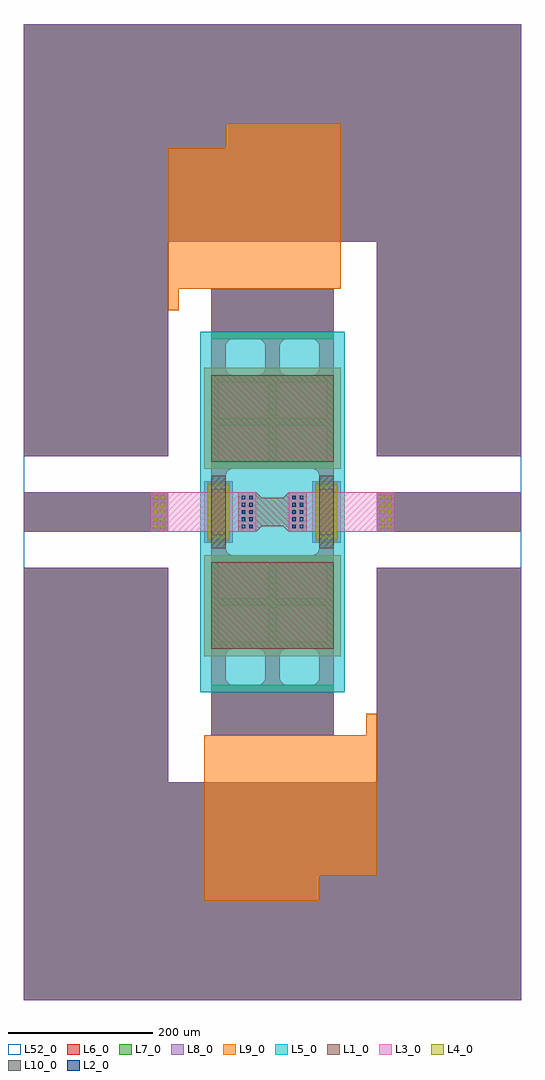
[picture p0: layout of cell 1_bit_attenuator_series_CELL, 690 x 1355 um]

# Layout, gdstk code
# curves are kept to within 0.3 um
import gdstk
lib = gdstk.Library(unit=1e-6, precision=1e-09)
def R(c, l, rs):  # rectangles x0, y0, x1, y1
    for r in rs: c.add(gdstk.rectangle(r[:2], r[2:], *l))
def A(c, l, x, y, w, h, nx, ny, dx, dy):  # array of equal rectangles
    R(c, l, [(x+i*dx, y+j*dy, x+i*dx+w, y+j*dy+h) for i in range(nx) for j in range(ny)])
def P(c, l, *ps):  # polygons
    for p in ps: c.add(gdstk.Polygon(p, *l))
L1_0 = (1, 0)
L2_0 = (2, 0)
L3_0 = (3, 0)
L4_0 = (4, 0)
L5_0 = (5, 0)
L6_0 = (6, 0)
L7_0 = (7, 0)
L8_0 = (8, 0)
L9_0 = (9, 0)
L10_0 = (10, 0)
L52_0 = (52, 0)

c_1_bit_attenuator_series_ = lib.new_cell('1_bit_attenuator_series_CELL')
R(c_1_bit_attenuator_series_, L1_0, [(-85,-190,85,-70), (-85,-190,85,-70), (-85,-32.5,-65,32.5), (65,-32.5,85,32.5), (-47.5,-27.5,-22.5,27.5), (22.5,-27.5,47.5,27.5), (-27.5,-20,27.5,20), (-85,70,85,190)])
P(c_1_bit_attenuator_series_, L1_0, [(22.5,27.5),(15,20),(22.5,20)],
  [(22.5,-27.5),(15,-20),(22.5,-20)],
  [(-22.5,-27.5),(-15,-20),(-22.5,-20)],
  [(-22.5,27.5),(-15,20),(-22.5,20)])
A(c_1_bit_attenuator_series_, L2_0, -42.5, -22.5, 5, 5, 1, 5, 0, 10)
A(c_1_bit_attenuator_series_, L2_0, -32.5, -22.5, 5, 5, 1, 5, 0, 10)
A(c_1_bit_attenuator_series_, L2_0, 27.5, -22.5, 5, 5, 1, 5, 0, 10)
A(c_1_bit_attenuator_series_, L2_0, 37.5, -22.5, 5, 5, 1, 5, 0, 10)
R(c_1_bit_attenuator_series_, L3_0, [(-170,-27.5,-145,27.5), (-170,-27.5,-145,27.5), (-145,-27.5,-47.5,27.5), (-47.5,-27.5,-22.5,27.5), (22.5,-27.5,47.5,27.5), (47.5,-27.5,145,27.5), (145,-27.5,170,27.5), (145,-27.5,170,27.5)])
A(c_1_bit_attenuator_series_, L4_0, -165, -22.5, 5, 5, 1, 5, 0, 10)
A(c_1_bit_attenuator_series_, L4_0, -155, -22.5, 5, 5, 1, 5, 0, 10)
A(c_1_bit_attenuator_series_, L4_0, 150, -22.5, 5, 5, 1, 5, 0, 10)
A(c_1_bit_attenuator_series_, L4_0, 160, -22.5, 5, 5, 1, 5, 0, 10)
R(c_1_bit_attenuator_series_, L4_0, [(-90,-37.5,-60,37.5), (60,-37.5,90,37.5)])
R(c_1_bit_attenuator_series_, L5_0, [(-100,-250,100,-90), (-100,-90,100,90), (-100,90,100,250)])
A(c_1_bit_attenuator_series_, L6_0, -85, -240, 20, 50, 3, 2, 75, 430)
R(c_1_bit_attenuator_series_, L6_0, [(-345,-677.5,345,-375), (-345,-477.5,-145,-77.5), (145,-477.5,345,-77.5), (-85,-310,85,-250), (-85,-250,85,-240), (-81,-181,78,-66), (-85,-60,-65,60), (65,-60,85,60), (-345,-27.5,-145,27.5), (145,-27.5,345,27.5), (-81,66,81,185), (-345,77.5,-145,477.5), (145,77.5,345,477.5), (-85,240,85,250), (-85,250,85,310), (-345,375,345,677.5)])
P(c_1_bit_attenuator_series_, L6_0, [(65,-230),(64,-234),(63,-236),(61,-238),(59,-239),(55,-240),(65,-240)],
  [(65,-200),(64,-196),(63,-194),(61,-192),(59,-191),(55,-190),(65,-190)],
  [(10,-230),(11,-234),(12,-236),(14,-238),(16,-239),(20,-240),(10,-240)],
  [(10,-200),(11,-196),(12,-194),(14,-192),(16,-191),(20,-190),(10,-190)],
  [(-10,-230),(-11,-234),(-12,-236),(-14,-238),(-16,-239),(-20,-240),(-10,-240)],
  [(-10,-200),(-11,-196),(-12,-194),(-14,-192),(-16,-191),(-20,-190),(-10,-190)],
  [(-65,-200),(-64,-196),(-63,-194),(-61,-192),(-59,-191),(-55,-190),(-65,-190)],
  [(-65,-230),(-64,-234),(-63,-236),(-61,-238),(-59,-239),(-55,-240),(-65,-240)],
  [(65,-50),(64,-54),(63,-56),(61,-58),(59,-59),(55,-60),(65,-60)],
  [(65,50),(64,54),(63,56),(61,58),(59,59),(55,60),(65,60)],
  [(-65,50),(-64,54),(-63,56),(-61,58),(-59,59),(-55,60),(-65,60)],
  [(-65,-50),(-64,-54),(-63,-56),(-61,-58),(-59,-59),(-55,-60),(-65,-60)],
  [(65,230),(64,234),(63,236),(61,238),(59,239),(55,240),(65,240)],
  [(65,200),(64,196),(63,194),(61,192),(59,191),(55,190),(65,190)],
  [(10,230),(11,234),(12,236),(14,238),(16,239),(20,240),(10,240)],
  [(10,200),(11,196),(12,194),(14,192),(16,191),(20,190),(10,190)],
  [(-10,230),(-11,234),(-12,236),(-14,238),(-16,239),(-20,240),(-10,240)],
  [(-10,200),(-11,196),(-12,194),(-14,192),(-16,191),(-20,190),(-10,190)],
  [(-65,200),(-64,196),(-63,194),(-61,192),(-59,191),(-55,190),(-65,190)],
  [(-65,230),(-64,234),(-63,236),(-61,238),(-59,239),(-55,240),(-65,240)],
  [(-70,70),(-72,70.5),(-73,71),(-74,72),(-74.5,73),(-75,75),(-85,75),(-85,60),(-70,60)],
  [(-50,70),(-53,71),(-54,72),(-55,75),(-65,75),(-66,72),(-67,71),(-70,70),(-70,60),(-50,60)],
  [(-30,70),(-33,71),(-34,72),(-35,75),(-45,75),(-46,72),(-47,71),(-50,70),(-50,60),(-30,60)],
  [(-10,70),(-13,71),(-14,72),(-15,75),(-25,75),(-26,72),(-27,71),(-30,70),(-30,60),(-10,60)],
  [(10,70),(7,71),(6,72),(5,75),(-5,75),(-6,72),(-7,71),(-10,70),(-10,60),(10,60)],
  [(30,70),(27,71),(26,72),(25,75),(15,75),(14,72),(13,71),(10,70),(10,60),(30,60)],
  [(50,70),(47,71),(46,72),(45,75),(35,75),(34,72),(33,71),(30,70),(30,60),(50,60)],
  [(70,70),(67,71),(66,72),(65,75),(55,75),(54,72),(53,71),(50,70),(50,60),(70,60)],
  [(85,75),(75,75),(74.5,73),(74,72),(73,71),(72,70.5),(70,70),(70,60),(85,60)],
  [(85,95),(75,95),(74,92),(73,91),(70,90),(70,80),(73,79),(74,78),(75,75),(85,75)],
  [(70,90),(67,91),(66,92),(65,95),(55,95),(54,92),(53,91),(50,90),(50,80),(53,79),(54,78),(55,75),(65,75),(66,78),(67,79),(70,80)],
  [(50,90),(47,91),(46,92),(45,95),(35,95),(34,92),(33,91),(30,90),(30,80),(33,79),(34,78),(35,75),(45,75),(46,78),(47,79),(50,80)],
  [(30,90),(27,91),(26,92),(25,95),(15,95),(14,92),(13,91),(10,90),(10,80),(13,79),(14,78),(15,75),(25,75),(26,78),(27,79),(30,80)],
  [(10,90),(7,91),(6,92),(5,95),(-5,95),(-6,92),(-7,91),(-10,90),(-10,80),(-7,79),(-6,78),(-5,75),(5,75),(6,78),(7,79),(10,80)],
  [(-10,90),(-13,91),(-14,92),(-15,95),(-25,95),(-26,92),(-27,91),(-30,90),(-30,80),(-27,79),(-26,78),(-25,75),(-15,75),(-14,78),(-13,79),(-10,80)],
  [(-30,90),(-33,91),(-34,92),(-35,95),(-45,95),(-46,92),(-47,91),(-50,90),(-50,80),(-47,79),(-46,78),(-45,75),(-35,75),(-34,78),(-33,79),(-30,80)],
  [(-70,90),(-73,91),(-74,92),(-75,95),(-85,95),(-85,75),(-75,75),(-74,78),(-73,79),(-70,80)],
  [(-50,90),(-53,91),(-54,92),(-55,95),(-65,95),(-66,92),(-67,91),(-70,90),(-70,80),(-67,79),(-66,78),(-65,75),(-55,75),(-54,78),(-53,79),(-50,80)],
  [(-70,110),(-73,111),(-74,112),(-75,115),(-85,115),(-85,95),(-75,95),(-74,98),(-73,99),(-70,100)],
  [(-50,110),(-53,111),(-54,112),(-55,115),(-65,115),(-66,112),(-67,111),(-70,110),(-70,100),(-67,99),(-66,98),(-65,95),(-55,95),(-54,98),(-53,99),(-50,100)],
  [(-30,110),(-33,111),(-34,112),(-35,115),(-45,115),(-46,112),(-47,111),(-50,110),(-50,100),(-47,99),(-46,98),(-45,95),(-35,95),(-34,98),(-33,99),(-30,100)],
  [(-10,110),(-13,111),(-14,112),(-15,115),(-25,115),(-26,112),(-27,111),(-30,110),(-30,100),(-27,99),(-26,98),(-25,95),(-15,95),(-14,98),(-13,99),(-10,100)],
  [(10,110),(7,111),(6,112),(5,115),(-5,115),(-6,112),(-7,111),(-10,110),(-10,100),(-7,99),(-6,98),(-5,95),(5,95),(6,98),(7,99),(10,100)],
  [(30,110),(27,111),(26,112),(25,115),(15,115),(14,112),(13,111),(10,110),(10,100),(13,99),(14,98),(15,95),(25,95),(26,98),(27,99),(30,100)],
  [(50,110),(47,111),(46,112),(45,115),(35,115),(34,112),(33,111),(30,110),(30,100),(33,99),(34,98),(35,95),(45,95),(46,98),(47,99),(50,100)],
  [(70,110),(67,111),(66,112),(65,115),(55,115),(54,112),(53,111),(50,110),(50,100),(53,99),(54,98),(55,95),(65,95),(66,98),(67,99),(70,100)],
  [(85,115),(75,115),(74,112),(73,111),(70,110),(70,100),(73,99),(74,98),(75,95),(85,95)],
  [(85,135),(75,135),(74,132),(73,131),(70,130),(70,120),(73,119),(74,118),(75,115),(85,115)],
  [(70,130),(67,131),(66,132),(65,135),(55,135),(54,132),(53,131),(50,130),(50,120),(53,119),(54,118),(55,115),(65,115),(66,118),(67,119),(70,120)],
  [(50,130),(47,131),(46,132),(45,135),(35,135),(34,132),(33,131),(30,130),(30,120),(33,119),(34,118),(35,115),(45,115),(46,118),(47,119),(50,120)],
  [(30,130),(27,131),(26,132),(25,135),(15,135),(14,132),(13,131),(10,130),(10,120),(13,119),(14,118),(15,115),(25,115),(26,118),(27,119),(30,120)],
  [(10,130),(7,131),(6,132),(5,135),(-5,135),(-6,132),(-7,131),(-10,130),(-10,120),(-7,119),(-6,118),(-5,115),(5,115),(6,118),(7,119),(10,120)],
  [(-10,130),(-13,131),(-14,132),(-15,135),(-25,135),(-26,132),(-27,131),(-30,130),(-30,120),(-27,119),(-26,118),(-25,115),(-15,115),(-14,118),(-13,119),(-10,120)],
  [(-30,130),(-33,131),(-34,132),(-35,135),(-45,135),(-46,132),(-47,131),(-50,130),(-50,120),(-47,119),(-46,118),(-45,115),(-35,115),(-34,118),(-33,119),(-30,120)],
  [(-70,130),(-73,131),(-74,132),(-75,135),(-85,135),(-85,115),(-75,115),(-74,118),(-73,119),(-70,120)],
  [(-50,130),(-53,131),(-54,132),(-55,135),(-65,135),(-66,132),(-67,131),(-70,130),(-70,120),(-67,119),(-66,118),(-65,115),(-55,115),(-54,118),(-53,119),(-50,120)],
  [(-70,150),(-73,151),(-74,152),(-75,155),(-85,155),(-85,135),(-75,135),(-74,138),(-73,139),(-70,140)],
  [(-50,150),(-53,151),(-54,152),(-55,155),(-65,155),(-66,152),(-67,151),(-70,150),(-70,140),(-67,139),(-66,138),(-65,135),(-55,135),(-54,138),(-53,139),(-50,140)],
  [(-30,150),(-33,151),(-34,152),(-35,155),(-45,155),(-46,152),(-47,151),(-50,150),(-50,140),(-47,139),(-46,138),(-45,135),(-35,135),(-34,138),(-33,139),(-30,140)],
  [(-10,150),(-13,151),(-14,152),(-15,155),(-25,155),(-26,152),(-27,151),(-30,150),(-30,140),(-27,139),(-26,138),(-25,135),(-15,135),(-14,138),(-13,139),(-10,140)],
  [(10,150),(7,151),(6,152),(5,155),(-5,155),(-6,152),(-7,151),(-10,150),(-10,140),(-7,139),(-6,138),(-5,135),(5,135),(6,138),(7,139),(10,140)],
  [(30,150),(27,151),(26,152),(25,155),(15,155),(14,152),(13,151),(10,150),(10,140),(13,139),(14,138),(15,135),(25,135),(26,138),(27,139),(30,140)],
  [(50,150),(47,151),(46,152),(45,155),(35,155),(34,152),(33,151),(30,150),(30,140),(33,139),(34,138),(35,135),(45,135),(46,138),(47,139),(50,140)],
  [(70,150),(67,151),(66,152),(65,155),(55,155),(54,152),(53,151),(50,150),(50,140),(53,139),(54,138),(55,135),(65,135),(66,138),(67,139),(70,140)],
  [(85,155),(75,155),(74,152),(73,151),(70,150),(70,140),(73,139),(74,138),(75,135),(85,135)],
  [(85,175),(75,175),(74,172),(73,171),(70,170),(70,160),(73,159),(74,158),(75,155),(85,155)],
  [(70,170),(67,171),(66,172),(65,175),(55,175),(54,172),(53,171),(50,170),(50,160),(53,159),(54,158),(55,155),(65,155),(66,158),(67,159),(70,160)],
  [(50,170),(47,171),(46,172),(45,175),(35,175),(34,172),(33,171),(30,170),(30,160),(33,159),(34,158),(35,155),(45,155),(46,158),(47,159),(50,160)],
  [(30,170),(27,171),(26,172),(25,175),(15,175),(14,172),(13,171),(10,170),(10,160),(13,159),(14,158),(15,155),(25,155),(26,158),(27,159),(30,160)],
  [(10,170),(7,171),(6,172),(5,175),(-5,175),(-6,172),(-7,171),(-10,170),(-10,160),(-7,159),(-6,158),(-5,155),(5,155),(6,158),(7,159),(10,160)],
  [(-10,170),(-13,171),(-14,172),(-15,175),(-25,175),(-26,172),(-27,171),(-30,170),(-30,160),(-27,159),(-26,158),(-25,155),(-15,155),(-14,158),(-13,159),(-10,160)],
  [(-30,170),(-33,171),(-34,172),(-35,175),(-45,175),(-46,172),(-47,171),(-50,170),(-50,160),(-47,159),(-46,158),(-45,155),(-35,155),(-34,158),(-33,159),(-30,160)],
  [(-70,170),(-73,171),(-74,172),(-75,175),(-85,175),(-85,155),(-75,155),(-74,158),(-73,159),(-70,160)],
  [(-50,170),(-53,171),(-54,172),(-55,175),(-65,175),(-66,172),(-67,171),(-70,170),(-70,160),(-67,159),(-66,158),(-65,155),(-55,155),(-54,158),(-53,159),(-50,160)],
  [(-70,190),(-85,190),(-85,175),(-75,175),(-74.5,177),(-74,178),(-73,179),(-72,179.5),(-70,180)],
  [(-50,190),(-70,190),(-70,180),(-67,179),(-66,178),(-65,175),(-55,175),(-54,178),(-53,179),(-50,180)],
  [(-30,190),(-50,190),(-50,180),(-47,179),(-46,178),(-45,175),(-35,175),(-34,178),(-33,179),(-30,180)],
  [(-10,190),(-30,190),(-30,180),(-27,179),(-26,178),(-25,175),(-15,175),(-14,178),(-13,179),(-10,180)],
  [(10,190),(-10,190),(-10,180),(-7,179),(-6,178),(-5,175),(5,175),(6,178),(7,179),(10,180)],
  [(30,190),(10,190),(10,180),(13,179),(14,178),(15,175),(25,175),(26,178),(27,179),(30,180)],
  [(50,190),(30,190),(30,180),(33,179),(34,178),(35,175),(45,175),(46,178),(47,179),(50,180)],
  [(70,190),(50,190),(50,180),(53,179),(54,178),(55,175),(65,175),(66,178),(67,179),(70,180)],
  [(85,190),(70,190),(70,180),(72,179.5),(73,179),(74,178),(74.5,177),(75,175),(85,175)],
  [(-70,-100),(-73,-99),(-74,-98),(-75,-95),(-85,-95),(-85,-115),(-75,-115),(-74,-112),(-73,-111),(-70,-110)],
  [(-70,-120),(-73,-119),(-74,-118),(-75,-115),(-85,-115),(-85,-135),(-75,-135),(-74,-132),(-73,-131),(-70,-130)],
  [(-70,-140),(-73,-139),(-74,-138),(-75,-135),(-85,-135),(-85,-155),(-75,-155),(-74,-152),(-73,-151),(-70,-150)],
  [(-70,-160),(-73,-159),(-74,-158),(-75,-155),(-85,-155),(-85,-175),(-75,-175),(-74,-172),(-73,-171),(-70,-170)],
  [(-70,-180),(-72,-179.5),(-73,-179),(-74,-178),(-74.5,-177),(-75,-175),(-85,-175),(-85,-190),(-70,-190)],
  [(-50,-180),(-53,-179),(-54,-178),(-55,-175),(-65,-175),(-66,-178),(-67,-179),(-70,-180),(-70,-190),(-50,-190)],
  [(-50,-160),(-53,-159),(-54,-158),(-55,-155),(-65,-155),(-66,-158),(-67,-159),(-70,-160),(-70,-170),(-67,-171),(-66,-172),(-65,-175),(-55,-175),(-54,-172),(-53,-171),(-50,-170)],
  [(-30,-180),(-33,-179),(-34,-178),(-35,-175),(-45,-175),(-46,-178),(-47,-179),(-50,-180),(-50,-190),(-30,-190)],
  [(-30,-160),(-33,-159),(-34,-158),(-35,-155),(-45,-155),(-46,-158),(-47,-159),(-50,-160),(-50,-170),(-47,-171),(-46,-172),(-45,-175),(-35,-175),(-34,-172),(-33,-171),(-30,-170)],
  [(-10,-180),(-13,-179),(-14,-178),(-15,-175),(-25,-175),(-26,-178),(-27,-179),(-30,-180),(-30,-190),(-10,-190)],
  [(-10,-160),(-13,-159),(-14,-158),(-15,-155),(-25,-155),(-26,-158),(-27,-159),(-30,-160),(-30,-170),(-27,-171),(-26,-172),(-25,-175),(-15,-175),(-14,-172),(-13,-171),(-10,-170)],
  [(-10,-140),(-13,-139),(-14,-138),(-15,-135),(-25,-135),(-26,-138),(-27,-139),(-30,-140),(-30,-150),(-27,-151),(-26,-152),(-25,-155),(-15,-155),(-14,-152),(-13,-151),(-10,-150)],
  [(-30,-140),(-33,-139),(-34,-138),(-35,-135),(-45,-135),(-46,-138),(-47,-139),(-50,-140),(-50,-150),(-47,-151),(-46,-152),(-45,-155),(-35,-155),(-34,-152),(-33,-151),(-30,-150)],
  [(-50,-140),(-53,-139),(-54,-138),(-55,-135),(-65,-135),(-66,-138),(-67,-139),(-70,-140),(-70,-150),(-67,-151),(-66,-152),(-65,-155),(-55,-155),(-54,-152),(-53,-151),(-50,-150)],
  [(-50,-120),(-53,-119),(-54,-118),(-55,-115),(-65,-115),(-66,-118),(-67,-119),(-70,-120),(-70,-130),(-67,-131),(-66,-132),(-65,-135),(-55,-135),(-54,-132),(-53,-131),(-50,-130)],
  [(-30,-120),(-33,-119),(-34,-118),(-35,-115),(-45,-115),(-46,-118),(-47,-119),(-50,-120),(-50,-130),(-47,-131),(-46,-132),(-45,-135),(-35,-135),(-34,-132),(-33,-131),(-30,-130)],
  [(-10,-120),(-13,-119),(-14,-118),(-15,-115),(-25,-115),(-26,-118),(-27,-119),(-30,-120),(-30,-130),(-27,-131),(-26,-132),(-25,-135),(-15,-135),(-14,-132),(-13,-131),(-10,-130)],
  [(-10,-100),(-13,-99),(-14,-98),(-15,-95),(-25,-95),(-26,-98),(-27,-99),(-30,-100),(-30,-110),(-27,-111),(-26,-112),(-25,-115),(-15,-115),(-14,-112),(-13,-111),(-10,-110)],
  [(-30,-100),(-33,-99),(-34,-98),(-35,-95),(-45,-95),(-46,-98),(-47,-99),(-50,-100),(-50,-110),(-47,-111),(-46,-112),(-45,-115),(-35,-115),(-34,-112),(-33,-111),(-30,-110)],
  [(-50,-100),(-53,-99),(-54,-98),(-55,-95),(-65,-95),(-66,-98),(-67,-99),(-70,-100),(-70,-110),(-67,-111),(-66,-112),(-65,-115),(-55,-115),(-54,-112),(-53,-111),(-50,-110)],
  [(-50,-60),(-70,-60),(-70,-70),(-67,-71),(-66,-72),(-65,-75),(-55,-75),(-54,-72),(-53,-71),(-50,-70)],
  [(-50,-80),(-53,-79),(-54,-78),(-55,-75),(-65,-75),(-66,-78),(-67,-79),(-70,-80),(-70,-90),(-67,-91),(-66,-92),(-65,-95),(-55,-95),(-54,-92),(-53,-91),(-50,-90)],
  [(-30,-60),(-50,-60),(-50,-70),(-47,-71),(-46,-72),(-45,-75),(-35,-75),(-34,-72),(-33,-71),(-30,-70)],
  [(-30,-80),(-33,-79),(-34,-78),(-35,-75),(-45,-75),(-46,-78),(-47,-79),(-50,-80),(-50,-90),(-47,-91),(-46,-92),(-45,-95),(-35,-95),(-34,-92),(-33,-91),(-30,-90)],
  [(-10,-60),(-30,-60),(-30,-70),(-27,-71),(-26,-72),(-25,-75),(-15,-75),(-14,-72),(-13,-71),(-10,-70)],
  [(-10,-80),(-13,-79),(-14,-78),(-15,-75),(-25,-75),(-26,-78),(-27,-79),(-30,-80),(-30,-90),(-27,-91),(-26,-92),(-25,-95),(-15,-95),(-14,-92),(-13,-91),(-10,-90)],
  [(-70,-60),(-85,-60),(-85,-75),(-75,-75),(-74.5,-73),(-74,-72),(-73,-71),(-72,-70.5),(-70,-70)],
  [(-70,-80),(-73,-79),(-74,-78),(-75,-75),(-85,-75),(-85,-95),(-75,-95),(-74,-92),(-73,-91),(-70,-90)],
  [(10,-60),(-10,-60),(-10,-70),(-7,-71),(-6,-72),(-5,-75),(5,-75),(6,-72),(7,-71),(10,-70)],
  [(30,-60),(10,-60),(10,-70),(13,-71),(14,-72),(15,-75),(25,-75),(26,-72),(27,-71),(30,-70)],
  [(50,-60),(30,-60),(30,-70),(33,-71),(34,-72),(35,-75),(45,-75),(46,-72),(47,-71),(50,-70)],
  [(10,-80),(7,-79),(6,-78),(5,-75),(-5,-75),(-6,-78),(-7,-79),(-10,-80),(-10,-90),(-7,-91),(-6,-92),(-5,-95),(5,-95),(6,-92),(7,-91),(10,-90)],
  [(30,-80),(27,-79),(26,-78),(25,-75),(15,-75),(14,-78),(13,-79),(10,-80),(10,-90),(13,-91),(14,-92),(15,-95),(25,-95),(26,-92),(27,-91),(30,-90)],
  [(50,-80),(47,-79),(46,-78),(45,-75),(35,-75),(34,-78),(33,-79),(30,-80),(30,-90),(33,-91),(34,-92),(35,-95),(45,-95),(46,-92),(47,-91),(50,-90)],
  [(10,-100),(7,-99),(6,-98),(5,-95),(-5,-95),(-6,-98),(-7,-99),(-10,-100),(-10,-110),(-7,-111),(-6,-112),(-5,-115),(5,-115),(6,-112),(7,-111),(10,-110)],
  [(30,-100),(27,-99),(26,-98),(25,-95),(15,-95),(14,-98),(13,-99),(10,-100),(10,-110),(13,-111),(14,-112),(15,-115),(25,-115),(26,-112),(27,-111),(30,-110)],
  [(50,-100),(47,-99),(46,-98),(45,-95),(35,-95),(34,-98),(33,-99),(30,-100),(30,-110),(33,-111),(34,-112),(35,-115),(45,-115),(46,-112),(47,-111),(50,-110)],
  [(10,-120),(7,-119),(6,-118),(5,-115),(-5,-115),(-6,-118),(-7,-119),(-10,-120),(-10,-130),(-7,-131),(-6,-132),(-5,-135),(5,-135),(6,-132),(7,-131),(10,-130)],
  [(30,-120),(27,-119),(26,-118),(25,-115),(15,-115),(14,-118),(13,-119),(10,-120),(10,-130),(13,-131),(14,-132),(15,-135),(25,-135),(26,-132),(27,-131),(30,-130)],
  [(50,-120),(47,-119),(46,-118),(45,-115),(35,-115),(34,-118),(33,-119),(30,-120),(30,-130),(33,-131),(34,-132),(35,-135),(45,-135),(46,-132),(47,-131),(50,-130)],
  [(10,-140),(7,-139),(6,-138),(5,-135),(-5,-135),(-6,-138),(-7,-139),(-10,-140),(-10,-150),(-7,-151),(-6,-152),(-5,-155),(5,-155),(6,-152),(7,-151),(10,-150)],
  [(30,-140),(27,-139),(26,-138),(25,-135),(15,-135),(14,-138),(13,-139),(10,-140),(10,-150),(13,-151),(14,-152),(15,-155),(25,-155),(26,-152),(27,-151),(30,-150)],
  [(50,-140),(47,-139),(46,-138),(45,-135),(35,-135),(34,-138),(33,-139),(30,-140),(30,-150),(33,-151),(34,-152),(35,-155),(45,-155),(46,-152),(47,-151),(50,-150)],
  [(50,-160),(47,-159),(46,-158),(45,-155),(35,-155),(34,-158),(33,-159),(30,-160),(30,-170),(33,-171),(34,-172),(35,-175),(45,-175),(46,-172),(47,-171),(50,-170)],
  [(50,-180),(47,-179),(46,-178),(45,-175),(35,-175),(34,-178),(33,-179),(30,-180),(30,-190),(50,-190)],
  [(30,-160),(27,-159),(26,-158),(25,-155),(15,-155),(14,-158),(13,-159),(10,-160),(10,-170),(13,-171),(14,-172),(15,-175),(25,-175),(26,-172),(27,-171),(30,-170)],
  [(30,-180),(27,-179),(26,-178),(25,-175),(15,-175),(14,-178),(13,-179),(10,-180),(10,-190),(30,-190)],
  [(10,-160),(7,-159),(6,-158),(5,-155),(-5,-155),(-6,-158),(-7,-159),(-10,-160),(-10,-170),(-7,-171),(-6,-172),(-5,-175),(5,-175),(6,-172),(7,-171),(10,-170)],
  [(10,-180),(7,-179),(6,-178),(5,-175),(-5,-175),(-6,-178),(-7,-179),(-10,-180),(-10,-190),(10,-190)],
  [(70,-180),(67,-179),(66,-178),(65,-175),(55,-175),(54,-178),(53,-179),(50,-180),(50,-190),(70,-190)],
  [(85,-175),(75,-175),(74.5,-177),(74,-178),(73,-179),(72,-179.5),(70,-180),(70,-190),(85,-190)],
  [(85,-155),(75,-155),(74,-158),(73,-159),(70,-160),(70,-170),(73,-171),(74,-172),(75,-175),(85,-175)],
  [(70,-160),(67,-159),(66,-158),(65,-155),(55,-155),(54,-158),(53,-159),(50,-160),(50,-170),(53,-171),(54,-172),(55,-175),(65,-175),(66,-172),(67,-171),(70,-170)],
  [(70,-140),(67,-139),(66,-138),(65,-135),(55,-135),(54,-138),(53,-139),(50,-140),(50,-150),(53,-151),(54,-152),(55,-155),(65,-155),(66,-152),(67,-151),(70,-150)],
  [(85,-135),(75,-135),(74,-138),(73,-139),(70,-140),(70,-150),(73,-151),(74,-152),(75,-155),(85,-155)],
  [(85,-115),(75,-115),(74,-118),(73,-119),(70,-120),(70,-130),(73,-131),(74,-132),(75,-135),(85,-135)],
  [(70,-120),(67,-119),(66,-118),(65,-115),(55,-115),(54,-118),(53,-119),(50,-120),(50,-130),(53,-131),(54,-132),(55,-135),(65,-135),(66,-132),(67,-131),(70,-130)],
  [(70,-100),(67,-99),(66,-98),(65,-95),(55,-95),(54,-98),(53,-99),(50,-100),(50,-110),(53,-111),(54,-112),(55,-115),(65,-115),(66,-112),(67,-111),(70,-110)],
  [(70,-60),(50,-60),(50,-70),(53,-71),(54,-72),(55,-75),(65,-75),(66,-72),(67,-71),(70,-70)],
  [(70,-80),(67,-79),(66,-78),(65,-75),(55,-75),(54,-78),(53,-79),(50,-80),(50,-90),(53,-91),(54,-92),(55,-95),(65,-95),(66,-92),(67,-91),(70,-90)],
  [(85,-60),(70,-60),(70,-70),(72,-70.5),(73,-71),(74,-72),(74.5,-73),(75,-75),(85,-75)],
  [(85,-75),(75,-75),(74,-78),(73,-79),(70,-80),(70,-90),(73,-91),(74,-92),(75,-95),(85,-95)],
  [(85,-95),(75,-95),(74,-98),(73,-99),(70,-100),(70,-110),(73,-111),(74,-112),(75,-115),(85,-115)])
A(c_1_bit_attenuator_series_, L7_0, -85, -250, 170, 10, 1, 4, 0, 60)
A(c_1_bit_attenuator_series_, L7_0, -85, -190, 10, 130, 3, 2, 80, 250)
A(c_1_bit_attenuator_series_, L7_0, -85, 60, 170, 10, 1, 4, 0, 60)
R(c_1_bit_attenuator_series_, L7_0, [(-345,-677.5,345,-375), (-345,-477.5,-145,-77.5), (145,-477.5,345,-77.5), (-85,-310,85,-250), (-345,-27.5,-145,27.5), (145,-27.5,345,27.5), (-85,-5,-65,5), (65,-5,85,5), (-345,77.5,-145,477.5), (145,77.5,345,477.5), (-85,250,85,310), (-345,375,345,677.5)])
R(c_1_bit_attenuator_series_, L8_0, [(-345,-677.5,345,-375), (-345,-477.5,-145,-77.5), (145,-477.5,345,-77.5), (-85,-310,85,-250), (-95,-42.5,-55,42.5), (55,-42.5,95,42.5), (-345,-27.5,-145,27.5), (-170,-27.5,-145,27.5), (145,-27.5,345,27.5), (145,-27.5,170,27.5), (-345,77.5,-145,477.5), (145,77.5,345,477.5), (-85,250,85,310), (-345,375,345,677.5)])
R(c_1_bit_attenuator_series_, L9_0, [(-95,-540,65,-505), (-95,-505,145,-310), (130,-310,145,-280), (-95,-200,95,-60), (-90,-42.5,-60,42.5), (60,-42.5,90,42.5), (-95,60,95,200), (-145,280,-130,310), (-145,310,95,505), (-65,505,95,540)])
R(c_1_bit_attenuator_series_, L10_0, [(-85,-50,-65,50), (65,-50,85,50)])
R(c_1_bit_attenuator_series_, L52_0, [(-345,-677.5,345,677.5)])

lib.write_gds('1_bit_attenuator_series_CELL.gds')
